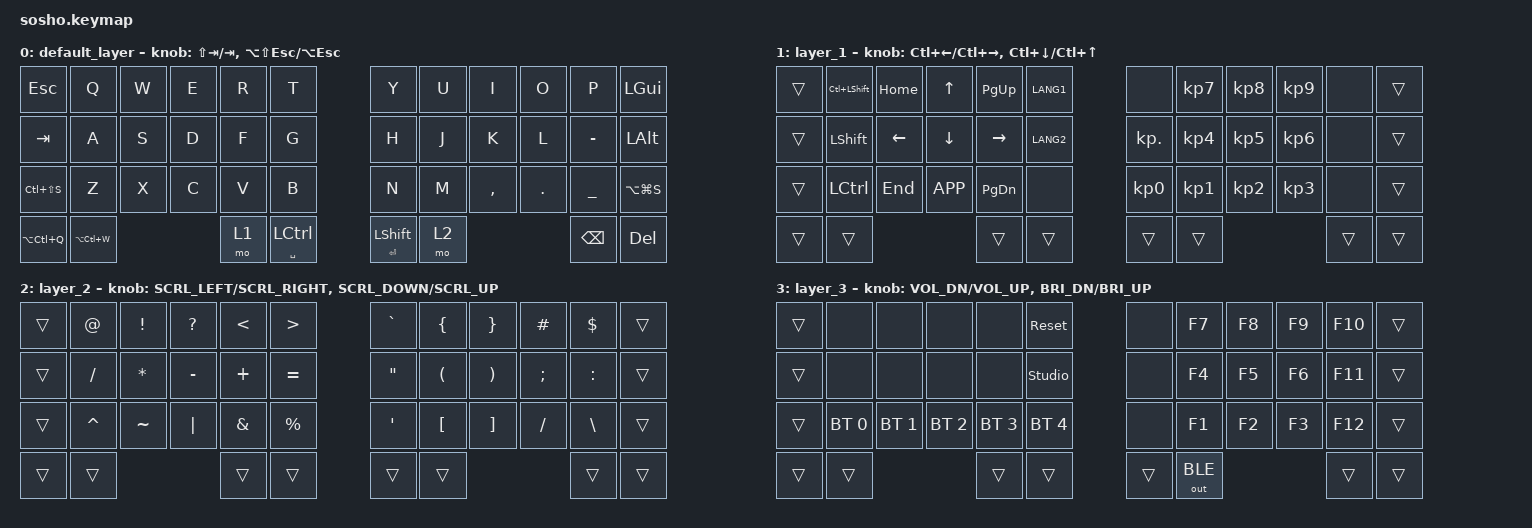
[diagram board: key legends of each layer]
//スクロール量の調整(デフォルト150)
#define ZMK_POINTING_DEFAULT_SCRL_VAL 150

#include <behaviors.dtsi>
#include <dt-bindings/zmk/bt.h>
#include <dt-bindings/zmk/keys.h>
#include <dt-bindings/zmk/pointing.h>
#include <dt-bindings/zmk/outputs.h>

/ {
	behaviors {
        ec_ms_l: ec_ms_h {
            compatible = "zmk,behavior-encoder-mouse-scroll";
            #sensor-binding-cells = <2>;
        };
        ec_ms_r: ec_ms_v {
            compatible = "zmk,behavior-encoder-mouse-scroll";
            #sensor-binding-cells = <2>;
        };
    };
};

// Hold-Tapの調整
&mt {
    tapping-term-ms = <100>;
};

// スクロールの調整
&msc {
    time-to-max-speed-ms = <0>;   // 即座に最大速度（加速なし）
    acceleration-exponent = <0>;   // 加速なし
};

/ {
    conditional_layers {
        compatible = "zmk,conditional-layers";
        tri_layer {
            if-layers = <1 2>;
            then-layer = <3>;
        };
    };
};

/{
    combos {
        compatible = "zmk,combos";
		// LCLK 19,20
	    combo_LCLK {
            timeout-ms = <50>;
            key-positions = <19 20>;
            bindings = <&mkp LCLK>;
        };

		//RCLK 20,21
        combo_RCLK {
            timeout-ms = <50>;
            key-positions = <20 21>;
            bindings = <&mkp RCLK>;
        };

		// MCLK 19,21
	    combo_MCLK {
            timeout-ms = <70>;
            key-positions = <19 21>;
            bindings = <&mkp MCLK>;
        };

		// MB4 31,32
	    combo_MB4 {
            timeout-ms = <50>;
            key-positions = <31 32>;
            bindings = <&mkp MB4>;
        };

		// MB5 32,33
	    combo_MB5 {
            timeout-ms = <50>;
            key-positions = <32 33>;
            bindings = <&mkp MB5>;
        };
    };
};

/{
keymap {
    compatible = "zmk,keymap";

    default_layer {
        bindings = <
            &kp ESC        &kp Q   &kp W  &kp E  &kp R  &kp T                &kp Y            &kp U  &kp I      &kp O    &kp P      &kp LGUI
            &kp TAB        &kp A   &kp S  &kp D  &kp F  &kp G                &kp H            &kp J  &kp K      &kp L    &kp MINUS  &kp LALT
            &kp LC(LS(S))  &kp Z   &kp X  &kp C  &kp V  &kp B                &kp N            &kp M  &kp COMMA  &kp DOT  &kp UNDER  &kp LA(LG(S))
            &kp LA(LC(Q))  &kp LA(LC(W))         &mo 1  &mt SPACE LCTRL      &mt ENTER LSHFT  &mo 2                      &kp BSPC   &kp DEL
        >;
        sensor-bindings = <&ec_ms_l LS(TAB) TAB &ec_ms_r LA(LS(ESC)) LA(ESC)>;
    };
	
    layer_1 {
        bindings = <
            &trans  &kp LC(LSHFT)  &kp HOME  &kp UP     &kp PG_UP  &kp LANG1       &none       &kp KP_N7  &kp KP_N8  &kp KP_N9  &none   &trans
            &trans  &kp LSHFT      &kp LEFT  &kp DOWN   &kp RIGHT  &kp LANG2       &kp KP_DOT  &kp KP_N4  &kp KP_N5  &kp KP_N6  &none   &trans
            &trans  &kp LCTRL      &kp END   &kp K_APP  &kp PG_DN  &none           &kp KP_N0   &kp KP_N1  &kp KP_N2  &kp KP_N3  &none   &trans
            &trans  &trans                              &trans     &trans          &trans      &trans                           &trans  &trans
        >;
        sensor-bindings = <&ec_ms_l LC(LEFT) LC(RIGHT)  &ec_ms_r LC(DOWN) LC(UP)>;
    };

    layer_2 {
        bindings = <
            &trans  &kp AT     &kp EXCL   &kp QMARK  &kp LT    &kp GT         &kp GRAVE  &kp LBRC  &kp RBRC  &kp HASH  &kp DLLR   &trans
            &trans  &kp FSLH   &kp STAR   &kp MINUS  &kp PLUS  &kp EQUAL      &kp DQT    &kp LPAR  &kp RPAR  &kp SEMI  &kp COLON  &trans
            &trans  &kp CARET  &kp TILDE  &kp PIPE   &kp AMPS  &kp PRCNT      &kp SQT    &kp LBKT  &kp RBKT  &kp FSLH  &kp BSLH   &trans
            &trans  &trans                           &trans    &trans         &trans     &trans                        &trans     &trans
        >;
		sensor-bindings = <&inc_dec_kp SCRL_LEFT SCRL_RIGHT  &ec_ms_r SCRL_DOWN SCRL_UP>;
    };

    layer_3 {
        bindings = <
            &trans  &none         &none         &none         &none         &sys_reset          &none   &kp F7  &kp F8  &kp F9  &kp F10  &trans
            &trans  &none         &none         &none         &none         &studio_unlock      &none   &kp F4  &kp F5  &kp F6  &kp F11  &trans
            &trans  &bt BT_SEL 0  &bt BT_SEL 1  &bt BT_SEL 2  &bt BT_SEL 3  &bt BT_SEL 4        &none   &kp F1  &kp F2  &kp F3  &kp F12  &trans
            &trans  &trans                                    &trans        &trans              &trans  &out OUT_BLE            &trans   &trans
        >;
        sensor-bindings = <&inc_dec_kp C_VOL_DN C_VOL_UP  &ec_ms_r C_BRI_DN C_BRI_UP>;
    };
    scroll {
        status = "reserved";
    };

    extra2 {
        status = "reserved";
    };
};
};
